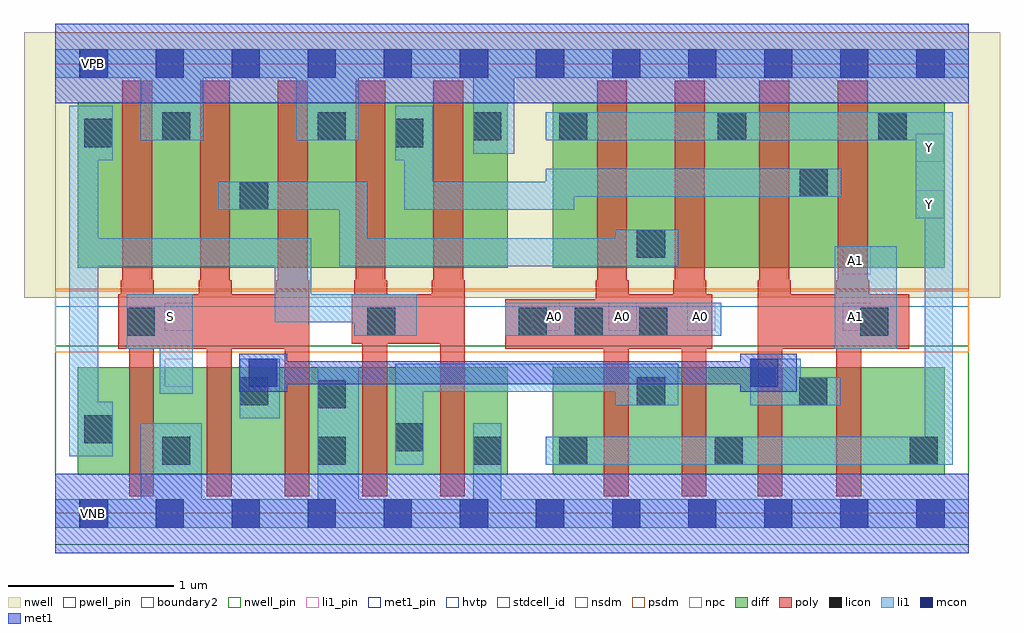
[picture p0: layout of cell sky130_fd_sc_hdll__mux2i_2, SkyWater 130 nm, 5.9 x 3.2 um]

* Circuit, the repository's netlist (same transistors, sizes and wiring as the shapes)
* Copyright 2020 The SkyWater PDK Authors
*
* Licensed under the Apache License, Version 2.0 (the "License");
* you may not use this file except in compliance with the License.
* You may obtain a copy of the License at
*
*     https://www.apache.org/licenses/LICENSE-2.0
*
* Unless required by applicable law or agreed to in writing, software
* distributed under the License is distributed on an "AS IS" BASIS,
* WITHOUT WARRANTIES OR CONDITIONS OF ANY KIND, either express or implied.
* See the License for the specific language governing permissions and
* limitations under the License.
*
* SPDX-License-Identifier: Apache-2.0

.SUBCKT sky130_fd_sc_hdll__mux2i_2 A0 A1 S VGND VNB VPB VPWR Y
*.PININFO A0:I A1:I S:I VGND:I VNB:I VPB:I VPWR:I Y:O
MMNA00 Y A0 smdNA0 VNB sky130_fd_pr__nfet_01v8 m=2 w=0.65U l=0.15U mult=1 sa=0.265
+ sb=0.265 sd=0.28 area=0.063 perim=1.14
MMNA01 smdNA0 Sb VGND VNB sky130_fd_pr__nfet_01v8 m=2 w=0.65U l=0.15U mult=1 sa=0.265
+ sb=0.265 sd=0.28 area=0.063 perim=1.14
MMNA10 Y A1 sndNA1 VNB sky130_fd_pr__nfet_01v8 m=2 w=0.65U l=0.15U mult=1 sa=0.265
+ sb=0.265 sd=0.28 area=0.063 perim=1.14
MMNA11 sndNA1 S VGND VNB sky130_fd_pr__nfet_01v8 m=2 w=0.65U l=0.15U mult=1 sa=0.265
+ sb=0.265 sd=0.28 area=0.063 perim=1.14
MMIN1 Sb S VGND VNB sky130_fd_pr__nfet_01v8 m=1 w=0.65U l=0.15U mult=1 sa=0.265
+ sb=0.265 sd=0.28 area=0.063 perim=1.14
MMPA00 VPWR S sndPS VPB sky130_fd_pr__pfet_01v8_hvt m=2 w=1.0U l=0.18U mult=1 sa=0.265
+ sb=0.265 sd=0.28 area=0.063 perim=1.14
MMPA01 sndPS A0 Y VPB sky130_fd_pr__pfet_01v8_hvt m=2 w=1.0U l=0.18U mult=1 sa=0.265
+ sb=0.265 sd=0.28 area=0.063 perim=1.14
MMPA10 VPWR Sb sndPSb VPB sky130_fd_pr__pfet_01v8_hvt m=2 w=1.0U l=0.18U mult=1
+ sa=0.265 sb=0.265 sd=0.28 area=0.063 perim=1.14
MMPA11 sndPSb A1 Y VPB sky130_fd_pr__pfet_01v8_hvt m=2 w=1.0U l=0.18U mult=1 sa=0.265
+ sb=0.265 sd=0.28 area=0.063 perim=1.14
MMIP1 Sb S VPWR VPB sky130_fd_pr__pfet_01v8_hvt m=1 w=1.0U l=0.18U mult=1 sa=0.265
+ sb=0.265 sd=0.28 area=0.063 perim=1.14
.ENDS sky130_fd_sc_hdll__mux2i_2

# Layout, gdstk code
import gdstk
lib = gdstk.Library(unit=1e-6, precision=1e-09)
def R(c, l, rs):  # rectangles x0, y0, x1, y1
    for r in rs: c.add(gdstk.rectangle(r[:2], r[2:], *l))
def A(c, l, x, y, w, h, nx, ny, dx, dy):  # array of equal rectangles
    R(c, l, [(x+i*dx, y+j*dy, x+i*dx+w, y+j*dy+h) for i in range(nx) for j in range(ny)])
def P(c, l, *ps):  # polygons
    for p in ps: c.add(gdstk.Polygon(p, *l))
nwell_pin = (64, 16)
nwell = (64, 20)
diff = (65, 20)
poly = (66, 20)
licon = (66, 44)
li1_pin = (67, 16)
li1 = (67, 20)
mcon = (67, 44)
met1_pin = (68, 16)
met1 = (68, 20)
hvtp = (78, 44)
stdcell_id = (81, 4)
nsdm = (93, 44)
psdm = (94, 20)
npc = (95, 20)
pwell_pin = (122, 16)
boundary2 = (236, 0)

sky130_fd_sc_hdll__mux2i = lib.new_cell('sky130_fd_sc_hdll__mux2i_2')
R(sky130_fd_sc_hdll__mux2i, nwell_pin, [(0.15,2.635,0.32,2.805)])
R(sky130_fd_sc_hdll__mux2i, nwell, [(-0.19,1.305,5.71,2.91)])
R(sky130_fd_sc_hdll__mux2i, diff, [(0.135,0.235,2.735,0.885), (3.005,0.235,5.375,0.885), (0.135,1.485,2.735,2.485), (3.005,1.485,5.375,2.485)])
P(sky130_fd_sc_hdll__mux2i, poly, [(1.535,1.41),(1.525,1.41),(1.525,2.615),(1.345,2.615),(1.345,1.41),(1.335,1.41),(1.335,1.325),(1.065,1.325),(1.065,1.41),(1.055,1.41),(1.055,2.615),(0.875,2.615),(0.875,1.41),(0.865,1.41),(0.865,1.325),(0.595,1.325),(0.595,1.41),(0.585,1.41),(0.585,2.615),(0.405,2.615),(0.405,1.41),(0.395,1.41),(0.395,1.325),(0.38,1.325),(0.38,0.995),(0.445,0.995),(0.445,0.105),(0.595,0.105),(0.595,0.995),(0.915,0.995),(0.915,0.105),(1.065,0.105),(1.065,0.995),(1.385,0.995),(1.385,0.105),(1.535,0.105)],
  [(2.475,1.41),(2.465,1.41),(2.465,2.615),(2.285,2.615),(2.285,1.41),(2.275,1.41),(2.275,1.325),(2.005,1.325),(2.005,1.41),(1.995,1.41),(1.995,2.615),(1.815,2.615),(1.815,1.41),(1.805,1.41),(1.805,1.325),(1.79,1.325),(1.79,1.025),(1.855,1.025),(1.855,0.105),(2.005,0.105),(2.005,1.025),(2.325,1.025),(2.325,0.105),(2.475,0.105)],
  [(3.97,1.325),(3.935,1.325),(3.935,1.41),(3.925,1.41),(3.925,2.615),(3.745,2.615),(3.745,1.41),(3.735,1.41),(3.735,1.325),(3.465,1.325),(3.465,1.41),(3.455,1.41),(3.455,2.615),(3.275,2.615),(3.275,1.41),(3.265,1.41),(3.265,1.295),(2.72,1.295),(2.72,0.995),(3.315,0.995),(3.315,0.105),(3.465,0.105),(3.465,0.995),(3.785,0.995),(3.785,0.105),(3.935,0.105),(3.935,0.995),(3.97,0.995)],
  [(5.16,1.325),(4.92,1.325),(4.92,1.41),(4.91,1.41),(4.91,2.615),(4.73,2.615),(4.73,1.41),(4.72,1.41),(4.72,1.325),(4.445,1.325),(4.445,1.41),(4.435,1.41),(4.435,2.615),(4.255,2.615),(4.255,1.41),(4.245,1.41),(4.245,0.105),(4.395,0.105),(4.395,0.995),(4.72,0.995),(4.72,0.105),(4.87,0.105),(4.87,0.995),(5.16,0.995)])
A(sky130_fd_sc_hdll__mux2i, licon, 0.645, 0.295, 0.17, 0.17, 3, 2, 0.94, 1.96)
R(sky130_fd_sc_hdll__mux2i, licon, [(3.045,0.295,3.215,0.465), (3.985,0.295,4.155,0.465), (5.165,0.295,5.335,0.465), (2.055,0.375,2.225,0.545), (0.175,0.425,0.345,0.595), (1.585,0.635,1.755,0.805), (1.115,0.655,1.285,0.825), (3.515,0.655,3.685,0.825), (4.495,0.655,4.665,0.825), (0.43,1.075,0.6,1.245), (1.885,1.075,2.055,1.245), (2.8,1.075,2.97,1.245), (3.14,1.075,3.31,1.245), (3.53,1.075,3.7,1.245), (4.865,1.075,5.035,1.245), (3.515,1.545,3.685,1.715), (1.115,1.835,1.285,2.005), (4.5,1.915,4.67,2.085), (0.175,2.215,0.345,2.385), (2.055,2.215,2.225,2.385), (3.045,2.255,3.215,2.425), (4.005,2.255,4.175,2.425), (4.975,2.255,5.145,2.425)])
R(sky130_fd_sc_hdll__mux2i, li1_pin, [(0.66,0.765,0.83,0.935), (0.66,1.105,0.83,1.275), (2.88,1.105,3.05,1.275), (3.345,1.105,3.515,1.275), (3.82,1.105,3.99,1.275), (4.76,1.105,4.93,1.275), (4.76,1.445,4.93,1.615), (5.2,1.785,5.37,1.955), (5.2,2.125,5.37,2.295)])
R(sky130_fd_sc_hdll__mux2i, li1, [(1.115,0.575,1.355,0.935), (4.71,0.995,5.085,1.615), (2.72,1.075,4.025,1.275)])
P(sky130_fd_sc_hdll__mux2i, li1, [(5.52,2.805),(0,2.805),(0,2.635),(0.515,2.635),(0.515,2.255),(0.895,2.255),(0.895,2.635),(1.455,2.635),(1.455,2.255),(1.835,2.255),(1.835,2.635),(2.525,2.635),(2.525,2.175),(2.775,2.175),(2.775,2.635),(5.52,2.635)],
  [(0.43,0.995),(0.43,1.325),(0.83,1.325),(0.83,0.725),(0.63,0.725),(0.63,0.995)],
  [(3.765,0.905),(2.055,0.905),(2.055,0.295),(2.225,0.295),(2.225,0.735),(3.385,0.735),(3.385,0.655),(3.765,0.655)],
  [(3.765,1.715),(3.385,1.715),(3.385,1.665),(1.885,1.665),(1.885,2.005),(0.985,2.005),(0.985,1.835),(1.715,1.835),(1.715,1.495),(3.765,1.495)],
  [(2.185,1.325),(1.545,1.325),(1.545,1.665),(0.26,1.665),(0.26,2.135),(0.345,2.135),(0.345,2.465),(0.085,2.465),(0.085,0.345),(0.345,0.345),(0.345,0.675),(0.26,0.675),(0.26,1.495),(1.325,1.495),(1.325,1.155),(1.805,1.155),(1.805,1.075),(2.185,1.075)],
  [(5.425,2.425),(2.965,2.425),(2.965,2.255),(5.2,2.255),(5.2,1.785),(5.255,1.785),(5.255,0.465),(2.965,0.465),(2.965,0.295),(5.425,0.295)],
  [(5.52,0.085),(2.695,0.085),(2.695,0.545),(2.525,0.545),(2.525,0.085),(1.835,0.085),(1.835,0.885),(1.585,0.885),(1.585,0.085),(0.885,0.085),(0.885,0.545),(0.515,0.545),(0.515,0.085),(0,0.085),(0,-0.085),(5.52,-0.085)],
  [(4.745,0.825),(4.505,0.825),(4.505,0.935),(4.2,0.935),(4.2,0.655),(4.745,0.655)],
  [(4.75,2.085),(2.965,2.085),(2.965,2.005),(2.28,2.005),(2.28,2.465),(2.055,2.465),(2.055,2.135),(2.11,2.135),(2.11,1.835),(3.135,1.835),(3.135,1.915),(4.75,1.915)])
A(sky130_fd_sc_hdll__mux2i, mcon, 0.145, -0.085, 0.17, 0.17, 12, 2, 0.46, 2.72)
R(sky130_fd_sc_hdll__mux2i, mcon, [(1.17,0.765,1.34,0.935), (4.2,0.765,4.37,0.935)])
R(sky130_fd_sc_hdll__mux2i, met1_pin, [(0.15,-0.085,0.32,0.085), (0.15,2.635,0.32,2.805)])
R(sky130_fd_sc_hdll__mux2i, met1, [(0,-0.24,5.52,0.24), (0,2.48,5.52,2.96)])
P(sky130_fd_sc_hdll__mux2i, met1, [(4.48,0.965),(4.14,0.965),(4.14,0.92),(1.4,0.92),(1.4,0.965),(1.11,0.965),(1.11,0.735),(1.4,0.735),(1.4,0.78),(4.14,0.78),(4.14,0.735),(4.48,0.735)])
R(sky130_fd_sc_hdll__mux2i, hvtp, [(0,1.25,5.52,2.72)])
R(sky130_fd_sc_hdll__mux2i, stdcell_id, [(0,0,5.52,2.72)])
R(sky130_fd_sc_hdll__mux2i, nsdm, [(0,-0.19,5.52,1.015)])
R(sky130_fd_sc_hdll__mux2i, psdm, [(0,1.355,5.52,2.91)])
R(sky130_fd_sc_hdll__mux2i, npc, [(0,0.975,5.52,1.345)])
R(sky130_fd_sc_hdll__mux2i, pwell_pin, [(0.15,-0.085,0.32,0.085)])
R(sky130_fd_sc_hdll__mux2i, boundary2, [(0,0,5.52,2.72)])
sky130_fd_sc_hdll__mux2i.add(gdstk.Label('Y', (5.285,2.21), layer=67, texttype=5))
sky130_fd_sc_hdll__mux2i.add(gdstk.Label('A1', (4.835,1.53), layer=67, texttype=5))
sky130_fd_sc_hdll__mux2i.add(gdstk.Label('A1', (4.835,1.19), layer=67, texttype=5))
sky130_fd_sc_hdll__mux2i.add(gdstk.Label('Y', (5.285,1.87), layer=67, texttype=5))
sky130_fd_sc_hdll__mux2i.add(gdstk.Label('A0', (3.425,1.19), layer=67, texttype=5))
sky130_fd_sc_hdll__mux2i.add(gdstk.Label('A0', (3.015,1.19), layer=67, texttype=5))
sky130_fd_sc_hdll__mux2i.add(gdstk.Label('A0', (3.9,1.19), layer=67, texttype=5))
sky130_fd_sc_hdll__mux2i.add(gdstk.Label('S', (0.695,1.19), layer=67, texttype=5))
sky130_fd_sc_hdll__mux2i.add(gdstk.Label('VNB', (0.23,0), layer=64, texttype=59))
sky130_fd_sc_hdll__mux2i.add(gdstk.Label('VPB', (0.23,2.72), layer=64, texttype=5))
sky130_fd_sc_hdll__mux2i.add(gdstk.Label('VPWR', (0.23,2.72), layer=68, texttype=5))
sky130_fd_sc_hdll__mux2i.add(gdstk.Label('VGND', (0.23,0), layer=68, texttype=5))
sky130_fd_sc_hdll__mux2i.add(gdstk.Label('mux2i_2', (0,0), layer=83, texttype=44))

lib.write_gds('sky130_fd_sc_hdll__mux2i_2.gds')
